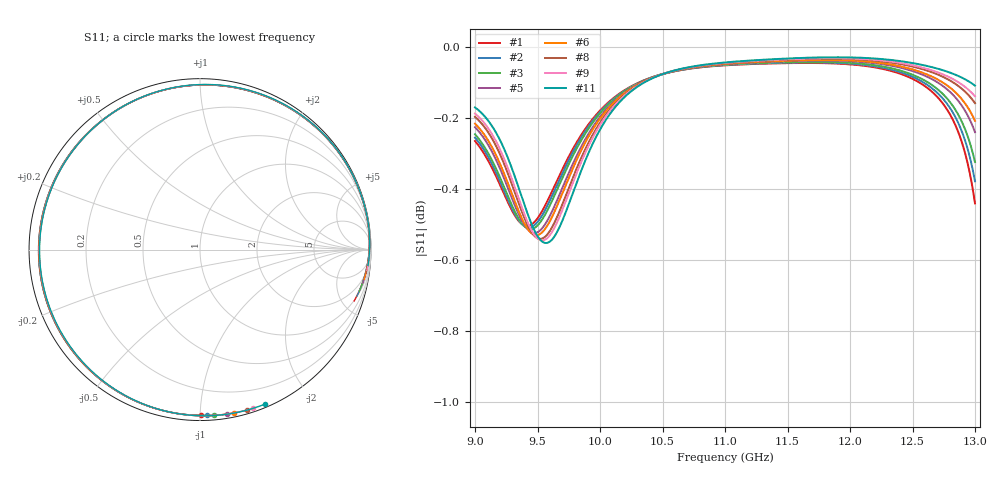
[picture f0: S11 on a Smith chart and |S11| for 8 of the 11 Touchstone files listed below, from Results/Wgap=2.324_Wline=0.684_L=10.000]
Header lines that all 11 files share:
! TOUCHSTONE file generated by CST DESIGN STUDIO
! Project name: C:\Work\MatlabApps\UnitCellOptimizationMatlab\CST\unitcell.cst
! Tree item: Tasks\Sweep1\SPara1\S-Parameters
! Header version: 2024
! Port assignment regex: !\s*Touchstone port\s*([0-9]+)\s*=\s*(CST MWS port|CST DES external port|CST DES block port)\s*(.+)\s* \(\"(.*)\"\)(\s*mode\s*([0-9]+))?.*
! Touchstone port assignment:
! Touchstone port 1 = CST DES external port 1 ("")
# GHz S MA R 50
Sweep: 9 GHz to 13 GHz
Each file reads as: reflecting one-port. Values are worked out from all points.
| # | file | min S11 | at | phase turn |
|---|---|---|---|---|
| 1 | DS_for_MWS-run-0001.s1p | -0.5 dB | 9.416 GHz | -289 deg |
| 2 | DS_for_MWS-run-0002.s1p | -0.5 dB | 9.429 GHz | -289 deg |
| 3 | DS_for_MWS-run-0003.s1p | -0.5 dB | 9.444 GHz | -290 deg |
| 4 | DS_for_MWS-run-0004.s1p | -0.5 dB | 9.459 GHz | -290 deg |
| 5 | DS_for_MWS-run-0005.s1p | -0.5 dB | 9.475 GHz | -291 deg |
| 6 | DS_for_MWS-run-0006.s1p | -0.5 dB | 9.49 GHz | -292 deg |
| 7 | DS_for_MWS-run-0007.s1p | -0.5 dB | 9.506 GHz | -293 deg |
| 8 | DS_for_MWS-run-0008.s1p | -0.5 dB | 9.522 GHz | -294 deg |
| 9 | DS_for_MWS-run-0009.s1p | -0.5 dB | 9.537 GHz | -295 deg |
| 10 | DS_for_MWS-run-0010.s1p | -0.5 dB | 9.553 GHz | -297 deg |
| 11 | DS_for_MWS-run-0011.s1p | -0.6 dB | 9.568 GHz | -298 deg |
